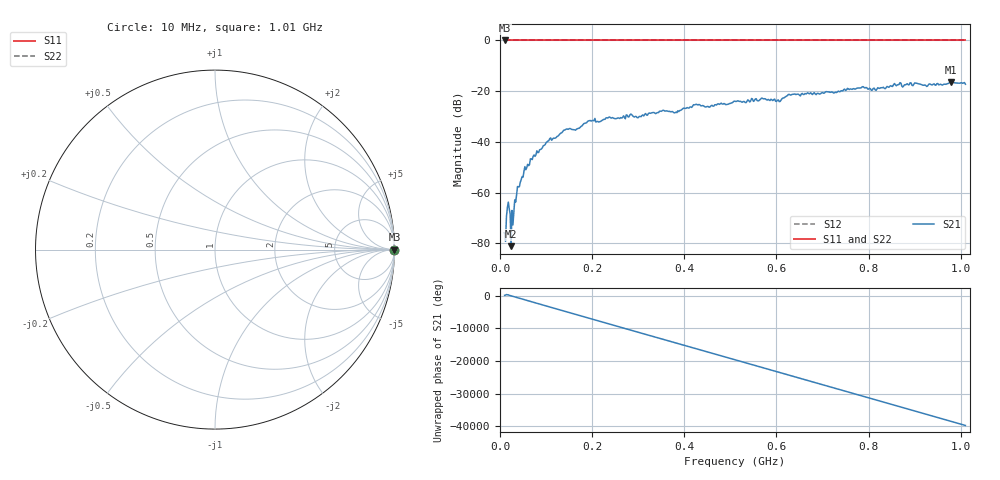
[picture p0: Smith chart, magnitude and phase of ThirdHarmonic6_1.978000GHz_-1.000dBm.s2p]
! 8/16/2025 11:47:27 PM
! C:\ANRITSUVNA\TEMP\TEMP.S2P
! CHANNEL.1
! TR.MEASUREMENT
! RAW.DATA
! RF.CORRECTION.OFF
! AVERAGING.OFF
! IF.BANDWIDTH: 5KHZ
! SWEEPTYPE:  FREQ.SWEEP(Linear)
! Reference Plane Port Info
! PORT:  PORT1  PORT2
! DISTANCE:  0  m  0  m
! TIME:  0  s  0  s
! PHASE.OFFSET:  0  deg.  0  deg.
! LOSS:  0  dB  0  dB
! REF.LOSS:  0  dB  0  dB
! REF.FREQ:  0  Hz  0  Hz
! Power Info
! POWER:  -20  dBm  -20  dBm
! EFF.POWER:  -20  dBm  -20  dBm
! SOURCE.ATTEN:  0  dB  0  dB
! TEST.ATTEN:  0  dB  0  dB
# GHZ S RI R 50.0
! FREQ.GHZ  S11RE  S11IM  S21RE  S21IM  S12RE  S12IM  S22RE  S22IM
!; PortSelection: Port_12
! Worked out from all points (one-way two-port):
!   501 points, 10 MHz to 1.01 GHz, reference 50 ohm
!   highest |S21| = -16.43 dB at 978 MHz (marker M1); lowest = -81.2 dB at 24 MHz (marker M2)
!   lowest |S11| = 0.0 dB at 10 MHz (marker M3)
!   |S11| at or under -10 dB: nowhere
!   |S22| runs from 0.0 to 0.0 dB; largest |S21 - S12| = 1.1
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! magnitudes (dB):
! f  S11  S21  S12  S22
! 10 MHz  0.0  -75.9  0.0  0.0
! 18 MHz  0.0  -63.8  0.0  0.0
! 24 MHz  0.0  -81.2  0.0  0.0
! 28 MHz  0.0  -72.8  0.0  0.0
! 36 MHz  0.0  -60.9  0.0  0.0
! 42 MHz  0.0  -57.7  0.0  0.0
! 56 MHz  0.0  -51.0  0.0  0.0
! 70 MHz  0.0  -47.0  0.0  0.0
! 106 MHz  0.0  -39.5  0.0  0.0
! 142 MHz  0.0  -35.2  0.0  0.0
! 178 MHz  0.0  -33.7  0.0  0.0
! 234 MHz  0.0  -30.6  0.0  0.0
! 302 MHz  0.0  -30.0  0.0  0.0
! 344 MHz  0.0  -28.5  0.0  0.0
! 380 MHz  0.0  -28.5  0.0  0.0
! 510 MHz  0.0  -24.0  0.0  0.0
! 604 MHz  0.0  -23.5  0.0  0.0
! 630 MHz  0.0  -21.5  0.0  0.0
! 678 MHz  0.0  -21.3  0.0  0.0
! 844 MHz  0.0  -18.5  0.0  0.0
! 978 MHz  0.0  -16.4  0.0  0.0
! 1.01 GHz  0.0  -17.3  0.0  0.0
